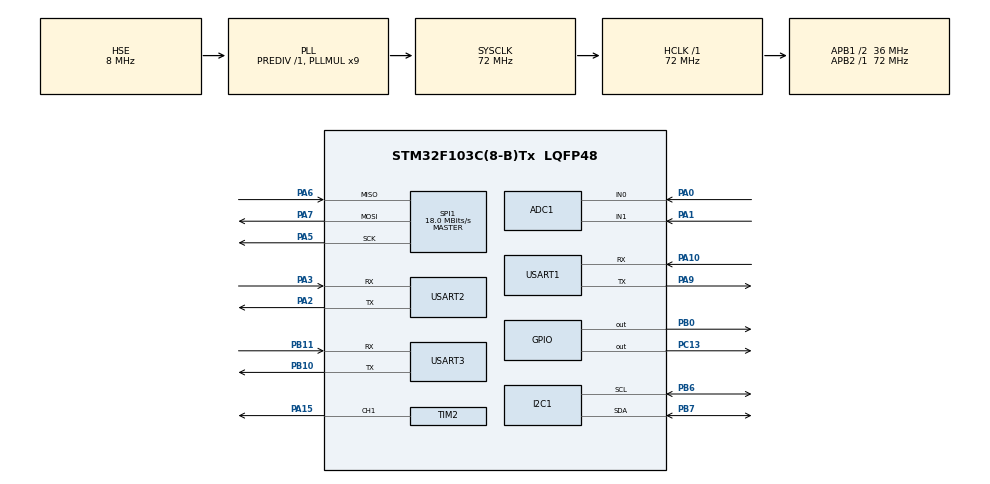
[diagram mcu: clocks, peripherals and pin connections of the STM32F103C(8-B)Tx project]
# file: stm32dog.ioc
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ADC1.Channel-6\#ChannelRegularConversion=ADC_CHANNEL_0
ADC1.Channel-7\#ChannelRegularConversion=ADC_CHANNEL_1
ADC1.ContinuousConvMode=ENABLE
ADC1.NbrOfConversion=2
ADC1.NbrOfConversionFlag=1
ADC1.Rank-6\#ChannelRegularConversion=1
ADC1.Rank-7\#ChannelRegularConversion=2
ADC1.SamplingTime-6\#ChannelRegularConversion=ADC_SAMPLETIME_239CYCLES_5
ADC1.SamplingTime-7\#ChannelRegularConversion=ADC_SAMPLETIME_239CYCLES_5
ADC1.master=1
I2C1.I2C_Mode=I2C_Fast
Mcu.Family=STM32F1
Mcu.Name=STM32F103C(8-B)Tx
Mcu.Package=LQFP48
NVIC.PriorityGroup=NVIC_PRIORITYGROUP_4
PA0-WKUP.Signal=ADCx_IN0
PA1.Signal=ADCx_IN1
PA10.Mode=Asynchronous
PA10.Signal=USART1_RX
PA13.Mode=Serial_Wire
PA13.Signal=SYS_JTMS-SWDIO
PA14.Mode=Serial_Wire
PA14.Signal=SYS_JTCK-SWCLK
PA15.Signal=S_TIM2_CH1_ETR
PA2.Mode=Asynchronous
PA2.Signal=USART2_TX
PA3.Mode=Asynchronous
PA3.Signal=USART2_RX
PA5.Mode=Full_Duplex_Master
PA5.Signal=SPI1_SCK
PA6.Mode=Full_Duplex_Master
PA6.Signal=SPI1_MISO
PA7.Mode=Full_Duplex_Master
PA7.Signal=SPI1_MOSI
PA9.Mode=Asynchronous
PA9.Signal=USART1_TX
PB0.Signal=GPIO_Output
PB10.Mode=Asynchronous
PB10.Signal=USART3_TX
PB11.Mode=Asynchronous
PB11.Signal=USART3_RX
PB6.Mode=I2C
PB6.Signal=I2C1_SCL
PB7.Mode=I2C
PB7.Signal=I2C1_SDA
PC13-TAMPER-RTC.Signal=GPIO_Output
PD0-OSC_IN.Mode=HSE-External-Oscillator
PD0-OSC_IN.Signal=RCC_OSC_IN
PD1-OSC_OUT.Mode=HSE-External-Oscillator
PD1-OSC_OUT.Signal=RCC_OSC_OUT
ProjectManager.HeapSize=0x200
ProjectManager.StackSize=0x400
ProjectManager.TargetToolchain=MDK-ARM V5
RCC.ADCPresc=RCC_ADCPCLK2_DIV6
RCC.AHBFreq_Value=72000000
RCC.APB1CLKDivider=RCC_HCLK_DIV2
RCC.APB1Freq_Value=36000000
RCC.APB1TimFreq_Value=72000000
RCC.APB2Freq_Value=72000000
RCC.APB2TimFreq_Value=72000000
RCC.HCLKFreq_Value=72000000
RCC.PLLMUL=RCC_PLL_MUL9
RCC.PLLSourceVirtual=RCC_PLLSOURCE_HSE
RCC.SYSCLKFreq_VALUE=72000000
RCC.SYSCLKSource=RCC_SYSCLKSOURCE_PLLCLK
RCC.USBFreq_Value=72000000
SH.ADCx_IN0.0=ADC1_IN0,IN0
SH.ADCx_IN1.0=ADC1_IN1,IN1
SH.S_TIM2_CH1_ETR.0=TIM2_CH1,PWM Generation1 CH1
SPI1.BaudRatePrescaler=SPI_BAUDRATEPRESCALER_4
SPI1.CalculateBaudRate=18.0 MBits/s
SPI1.Direction=SPI_DIRECTION_2LINES
SPI1.Mode=SPI_MODE_MASTER
SPI1.VirtualType=VM_MASTER
TIM2.Channel-PWM\ Generation1\ CH1=TIM_CHANNEL_1
TIM2.Channel-PWM\ Generation3\ CH3=TIM_CHANNEL_3
TIM2.Period=1000-1
TIM2.Prescaler=72-1
USART1.VirtualMode=VM_ASYNC
USART2.VirtualMode=VM_ASYNC
USART3.VirtualMode=VM_ASYNC
VP_TIM2_VS_ClockSourceINT.Mode=Internal
board=custom

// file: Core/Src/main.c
/* USER CODE BEGIN Header */
/**
  ******************************************************************************
  * @file           : main.c
  * @brief          : Main program body
  ******************************************************************************
  * @attention
  *
  * Copyright (c) 2026 STMicroelectronics.
  * All rights reserved.
  *
  * This software is licensed under terms that can be found in the LICENSE file
  * in the root directory of this software component.
  * If no LICENSE file comes with this software, it is provided AS-IS.
  *
  ******************************************************************************
  */
/* USER CODE END Header */
#include "main.h"
#include "adc.h"
#include "i2c.h"
#include "spi.h"
#include "tim.h"
#include "usart.h"
#include "gpio.h"

/* USER CODE BEGIN Includes */
#include <stdio.h>
#include <string.h>
#include "ssd1306_i2c.h"
#include "sensor.h"
#include "buzzer.h"
#include "w25q_spi.h"
#include "gfx_engine.h"
#include "pet_fsm.h"
#include "cat_fullscreen.h"
#include "cat_anim1.h"
#include "cat_anim2.h"
#include "cat_sleep.h"
#include "cat_hot.h"
#include "flash_config.h"
#include "hc05.h"
#include "esp8266.h"
/* USER CODE END Includes */

void SystemClock_Config(void);

/* USER CODE BEGIN 0 */

/* printf 重定向到 USART1 (Keil MicroLIB 使用 fputc) */
#ifdef __MICROLIB
int fputc(int ch, FILE *f)
{
    HAL_UART_Transmit(&huart1, (uint8_t *)&ch, 1, 10);
    return ch;
}
#else
/* GCC/ARM Compiler 使用 _write */
int _write(int fd, char *ptr, int len)
{
    HAL_UART_Transmit(&huart1, (uint8_t *)ptr, len, 10);
    return len;
}
#endif

/* USER CODE END 0 */

int main(void)
{

  /* MCU Configuration--------------------------------------------------------*/

  /* Reset of all peripherals, Initializes the Flash interface and the Systick. */
  HAL_Init();

  /* Configure the system clock */
  SystemClock_Config();

  /* Initialize all configured peripherals */
  MX_GPIO_Init();
  MX_ADC1_Init();
  MX_I2C1_Init();
  MX_SPI1_Init();
  MX_TIM2_Init();
  MX_USART1_UART_Init();
  MX_USART3_UART_Init();
  MX_USART2_UART_Init();
  /* USER CODE BEGIN 2 */
  printf("================================\r\n");
  printf("  STM32 MoonCat v2.0\r\n");
  printf("  MCU: STM32F103C8T6 @ 72MHz\r\n");
  printf("================================\r\n\n");

  /* Init all hardware */
  SSD1306_Init();
  W25Q_Init();
  FlashConfig_Load();  /* 必须在 Sensor_Init 之前, 加载已保存阈值 */
  Sensor_Init();
  Buzzer_Init();
  HC05_Init();
  ESP8266_Init();
  PetFSM_Init();

  /* Boot screen */
  GFX_Clear();
  GFX_DrawString(20, 0, "MoonCat v2.0");
  GFX_DrawLine(0, 10, 127, 10);
  GFX_DrawString(0, 16, "OLED  SENS  BUZZ");
  GFX_DrawString(0, 26, "FLASH FSM   READY");
  GFX_DrawString(30, 45, "Booting...");
  GFX_Refresh();
  HAL_Delay(1200);

  Buzzer_Beep(100);
  printf("\n=== System Boot OK! ===\r\n");
  printf("Commands: touch(t) feed(f) status(s) help(h)\r\n\n");
  /* USER CODE END 2 */

  /* Infinite loop */
  while (1)
  {

    /* USER CODE BEGIN 3 */
    static uint32_t last_sensor = 0;
    static uint32_t last_led = 0;
    static uint32_t last_status = 0;
    static uint32_t last_report = 0;
    uint32_t now = HAL_GetTick();

    /* ---- ESP-01S WiFi 状态上报 (5s) ---- */
    if (now - last_report >= 5000) {
        last_report = now;
        const char *sn[] = {"IDLE","HAPPY","SLEEP","SURPRISE","HOT"};
        printf("[ESP-SEND] tick=%lu\r\n", (unsigned long)now);  /* 诊断: 确认STM32实际发送节奏 */
        ESP8266_Send("STATUS,%s,%d,%d",
                     sn[PetFSM_GetState()],
                     Sensor_GetLDR(),
                     Sensor_GetNTC());
    }

    /* ---- 串口命令接收 (单字符即时触发, 不需要回车) ---- */
    static PetCmd_t pet_cmd = CMD_NONE;
    while (__HAL_UART_GET_FLAG(&huart1, UART_FLAG_RXNE)) {
        uint8_t ch = (uint8_t)(huart1.Instance->DR & 0xFF);

        switch (ch) {
            case 't': case 'T':
                pet_cmd = CMD_TOUCH;
                Buzzer_Beep(30);
                printf("[TOUCH]\r\n");
                break;
            case 'f': case 'F':
                pet_cmd = CMD_FEED;
                Buzzer_Beep(30);
                printf("[FEED]\r\n");
                break;
            case 's': case 'S':
                last_status = 0;
                break;
            case 'z': case 'Z':
                pet_cmd = CMD_SLEEP;
                Buzzer_Beep(30);
                printf("[SLEEP]\r\n");
                break;
            case 'w': case 'W':
                FlashConfig_Save();
                Buzzer_Beep(30);
                break;
            case 'r': case 'R':
                FlashConfig_Reset();
                Buzzer_Beep(100);
                printf("[RESET] defaults restored\r\n");
                break;
            case '=':
                g_ntc_hot += 50;
                printf("[NTC] hot threshold: %d\r\n", g_ntc_hot);
                break;
            case '-':
                if (g_ntc_hot >= 100) g_ntc_hot -= 50;
                printf("[NTC] hot threshold: %d\r\n", g_ntc_hot);
                break;
            case 'h': case 'H':
                printf("\r\n=== CAT PET COMMANDS ===\r\n");
                printf("  t - touch   f - feed\r\n");
                printf("  z - sleep   s - status\r\n");
                printf("  w - save    r - reset\r\n");
                printf("  =/- adj NTC hot\r\n");
                printf("========================\r\n\n");
                break;
            default:
                break;  /* 忽略 \r \n 等 */
        }
    }

    /* ---- HC-05 蓝牙命令 ---- */
    {
        PetCmd_t bt_cmd = HC05_Process();
        if (bt_cmd != CMD_NONE) {
            pet_cmd = bt_cmd;
        }
    }

    /* ---- ESP-01S WiFi 云端指令 ---- */
    {
        PetCmd_t cloud_cmd = ESP8266_Process();
        if (cloud_cmd != CMD_NONE) {
            pet_cmd = cloud_cmd;
        }
    }

    /* ---- 传感器 (500ms) ---- */
    if (now - last_sensor >= 500) {
        last_sensor = now;
        Sensor_Update();
    }

    /* ---- 状态机更新 (200ms) ---- */
    static uint32_t last_fsm = 0;
    if (now - last_fsm >= 200) {
        last_fsm = now;
        PetFSM_Update(Sensor_GetLight(), Sensor_GetTemp(), pet_cmd);
        pet_cmd = CMD_NONE;  /* 命令已消费, 重置 */

        /* 触发音效 */
        int8_t mel = PetFSM_GetMelody();
        if (mel >= 0) Buzzer_PlayMelody((Melody_t)mel);
    }

    /* ---- 渲染 (帧速按情绪可调) ---- */
    static uint32_t last_render = 0;
    static uint8_t  cat_frame = 0;
    static uint8_t  last_anim_slot = 99;

    /* 不同状态不同帧速 */
    uint16_t frame_ms = 150;  /* IDLE 默认 */
    switch (PetFSM_GetAnimSlot()) {
        case ANIM_IDLE:    frame_ms = 150; break;
        case ANIM_HAPPY:   frame_ms = 100; break;
        case ANIM_SLEEP:   frame_ms = 300; break;
        case ANIM_SURPRISE: frame_ms = 80;  break;
        case ANIM_HOT:      frame_ms = 80;  break;
    }

    if (now - last_render >= frame_ms) {
        last_render = now;

        const uint8_t *full = NULL;
        uint8_t max_frames = 6;

        /* 换动画时重置帧计数 */
        if (PetFSM_GetAnimSlot() != last_anim_slot) {
            cat_frame = 0;
            last_anim_slot = PetFSM_GetAnimSlot();
        }

        switch (PetFSM_GetAnimSlot()) {
            case ANIM_IDLE:
                full = cat_idle_frames[cat_frame];
                max_frames = CAT_IDLE_FRAMES;
                break;
            case ANIM_HAPPY:
                full = cat_anim2_frames[cat_frame];
                max_frames = CAT_ANIM2_FRAMES;
                break;
            case ANIM_SLEEP:
                full = cat_sleep_frames[cat_frame];
                max_frames = CAT_SLEEP_FRAMES;
                break;
            case ANIM_SURPRISE:
                full = cat_anim1_frames[cat_frame];
                max_frames = CAT_ANIM1_FRAMES;
                break;
            case ANIM_HOT:
                full = cat_hot_frames[cat_frame];
                max_frames = CAT_HOT_FRAMES;
                break;
        }

        /* 直接写OLED (与参考代码完全一致的逐页逐列方式) */
        if (full) {
            for (uint8_t page = 0; page < 8; page++) {
                SSD1306_WriteCmd(0xB0 + page);
                SSD1306_WriteCmd(0x00);
                SSD1306_WriteCmd(0x10);
                for (uint8_t col = 0; col < 128; col++) {
                    SSD1306_WriteData(full[page * 128 + col]);
                }
            }
        }

        /* 下一帧 */
        if (max_frames > 0) {
            cat_frame = (cat_frame + 1) % max_frames;
        }
    }

    /* ---- LED 状态指示 (不同情绪不同闪烁频率) ---- */
    {
        uint16_t led_ms = 500;  /* IDLE: 1Hz */
        switch (PetFSM_GetAnimSlot()) {
            case ANIM_IDLE:    led_ms = 500;  break;  /* 慢闪 */
            case ANIM_HAPPY:   led_ms = 200;  break;  /* 快闪 */
            case ANIM_SLEEP:   led_ms = 1500; break;  /* 很慢 */
            case ANIM_SURPRISE: led_ms = 100;  break;  /* 极快 */
            case ANIM_HOT:      led_ms = 80;   break;  /* 最快: 过热警告 */
        }
        if (now - last_led >= led_ms) {
            last_led = now;
            HAL_GPIO_TogglePin(GPIOC, GPIO_PIN_13);
        }
    }

    /* ---- 串口状态输出 (5s) ---- */
    if (now - last_status >= 5000) {
        last_status = now;
        const char *sn[] = {"IDLE","HAPPY","SLEEP","SURPRISE","HOT"};
        const char *an[] = {"idle","happy","sleep","surprise","hot"};
        printf("[CAT] State=%s Anim=%s LDR=%d NTC=%d\r\n",
               sn[PetFSM_GetState()],
               an[PetFSM_GetAnimSlot()],
               Sensor_GetLDR(), Sensor_GetNTC());
    }

    /* ---- 蜂鸣器 ---- */
    Buzzer_Update();

    HAL_Delay(10);
  }
  /* USER CODE END 3 */
}

void SystemClock_Config(void)
{
  RCC_OscInitTypeDef RCC_OscInitStruct = {0};
  RCC_ClkInitTypeDef RCC_ClkInitStruct = {0};
  RCC_PeriphCLKInitTypeDef PeriphClkInit = {0};

  /** Initializes the RCC Oscillators according to the specified parameters
  * in the RCC_OscInitTypeDef structure.
  */
  RCC_OscInitStruct.OscillatorType = RCC_OSCILLATORTYPE_HSE;
  RCC_OscInitStruct.HSEState = RCC_HSE_ON;
  RCC_OscInitStruct.HSEPredivValue = RCC_HSE_PREDIV_DIV1;
  RCC_OscInitStruct.HSIState = RCC_HSI_ON;
  RCC_OscInitStruct.PLL.PLLState = RCC_PLL_ON;
  RCC_OscInitStruct.PLL.PLLSource = RCC_PLLSOURCE_HSE;
  RCC_OscInitStruct.PLL.PLLMUL = RCC_PLL_MUL9;
  if (HAL_RCC_OscConfig(&RCC_OscInitStruct) != HAL_OK)
  {
    Error_Handler();
  }

  /** Initializes the CPU, AHB and APB buses clocks
  */
  RCC_ClkInitStruct.ClockType = RCC_CLOCKTYPE_HCLK|RCC_CLOCKTYPE_SYSCLK
                              |RCC_CLOCKTYPE_PCLK1|RCC_CLOCKTYPE_PCLK2;
  RCC_ClkInitStruct.SYSCLKSource = RCC_SYSCLKSOURCE_PLLCLK;
  RCC_ClkInitStruct.AHBCLKDivider = RCC_SYSCLK_DIV1;
  RCC_ClkInitStruct.APB1CLKDivider = RCC_HCLK_DIV2;
  RCC_ClkInitStruct.APB2CLKDivider = RCC_HCLK_DIV1;

  if (HAL_RCC_ClockConfig(&RCC_ClkInitStruct, FLASH_LATENCY_2) != HAL_OK)
  {
    Error_Handler();
  }
  PeriphClkInit.PeriphClockSelection = RCC_PERIPHCLK_ADC;
  PeriphClkInit.AdcClockSelection = RCC_ADCPCLK2_DIV6;
  if (HAL_RCCEx_PeriphCLKConfig(&PeriphClkInit) != HAL_OK)
  {
    Error_Handler();
  }
}

void Error_Handler(void)
{
  __disable_irq();
  while (1)
  {
  }
}
